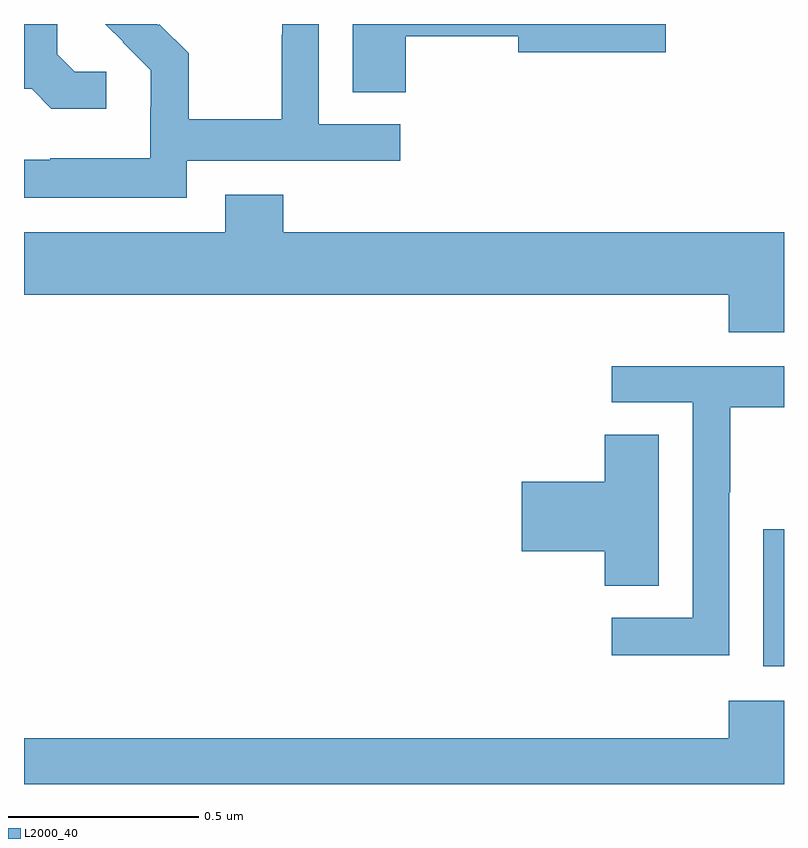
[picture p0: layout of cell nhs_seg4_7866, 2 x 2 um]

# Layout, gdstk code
import gdstk
lib = gdstk.Library(unit=1e-6, precision=1e-09)
def R(c, l, rs):  # rectangles x0, y0, x1, y1
    for r in rs: c.add(gdstk.rectangle(r[:2], r[2:], *l))
def P(c, l, *ps):  # polygons
    for p in ps: c.add(gdstk.Polygon(p, *l))
L2000_40 = (2000, 40)

nhs_seg4_7866 = lib.new_cell('nhs_seg4_7866')
R(nhs_seg4_7866, L2000_40, [(209.945,761.21,210,761.571)])
P(nhs_seg4_7866, L2000_40, [(208.428,762.54),(208.99,762.54),(208.99,762.636),(208.776,762.636),(208.776,762.9),(208.68,762.9),(208.68,762.872),(208.678,762.872),(208.678,762.649),(208.433,762.649),(208.433,762.823),(208.356,762.9),(208.353,762.897),(208.35,762.9),(208.214,762.9),(208.261,762.853),(208.26,762.852),(208.334,762.778),(208.334,762.681),(208.332,762.681),(208.332,762.547),(208.069,762.547),(208.069,762.543),(208,762.543),(208,762.443),(208.428,762.443)],
  [(209.004,762.868),(209.3,762.868),(209.3,762.826),(209.689,762.826),(209.689,762.9),(208.865,762.9),(208.865,762.721),(209.004,762.721)],
  [(208.216,762.774),(208.134,762.774),(208.087,762.821),(208.087,762.9),(208,762.9),(208,762.729),(208.02,762.729),(208.072,762.677),(208.216,762.677)],
  [(210,762.352),(208.682,762.352),(208.682,762.451),(208.529,762.451),(208.529,762.352),(208,762.352),(208,762.188),(209.855,762.188),(209.855,762.089),(210,762.089)],
  [(209.856,761.668),(209.859,761.668),(209.859,761.892),(210,761.892),(210,762),(209.547,762),(209.547,761.904),(209.76,761.904),(209.76,761.337),(209.547,761.337),(209.547,761.239),(209.856,761.239)],
  [(209.671,761.819),(209.528,761.819),(209.528,761.696),(209.31,761.696),(209.31,761.513),(209.528,761.513),(209.528,761.422),(209.671,761.422)],
  [(210,761.119),(209.855,761.119),(209.855,761.02),(208,761.02),(208,760.9),(210,760.9)])

lib.write_gds('nhs_seg4_7866.gds')
